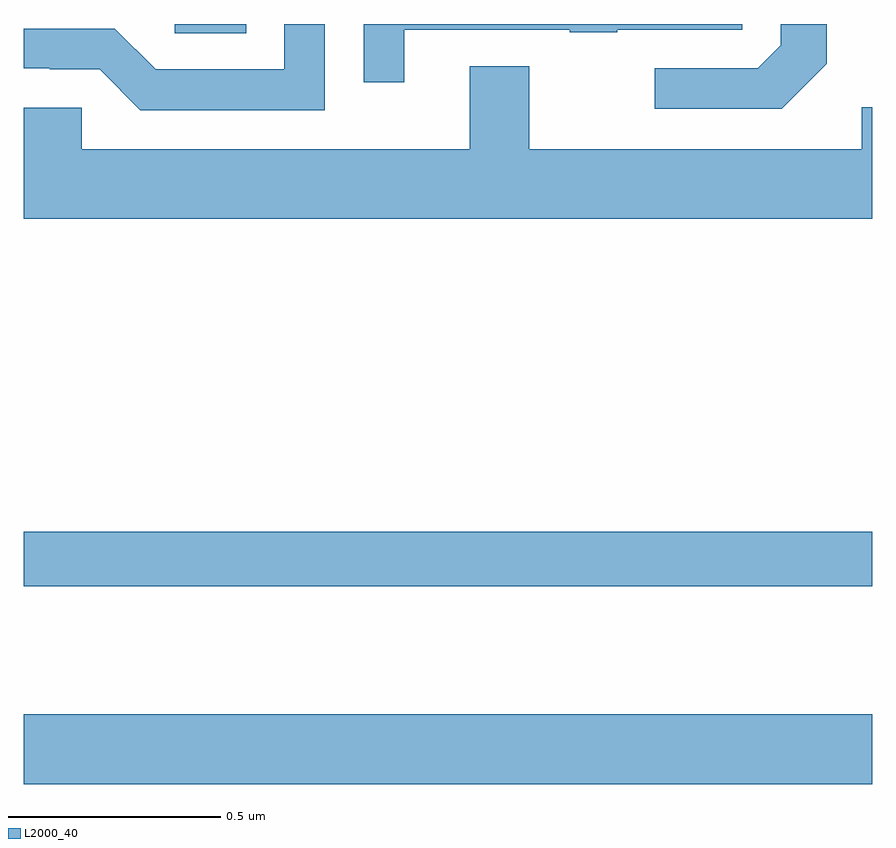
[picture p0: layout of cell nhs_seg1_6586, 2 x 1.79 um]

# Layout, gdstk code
import gdstk
lib = gdstk.Library(unit=1e-6, precision=1e-09)
def R(c, l, rs):  # rectangles x0, y0, x1, y1
    for r in rs: c.add(gdstk.rectangle(r[:2], r[2:], *l))
def P(c, l, *ps):  # polygons
    for p in ps: c.add(gdstk.Polygon(p, *l))
L2000_40 = (2000, 40)

nhs_seg1_6586 = lib.new_cell('nhs_seg1_6586')
R(nhs_seg1_6586, L2000_40, [(193,542.408,195,542.572), (193,542.874,195,543.002), (193.356,544.177,193.524,544.199)])
P(nhs_seg1_6586, L2000_40, [(193.71,544.199),(193.614,544.199),(193.614,544.092),(193.311,544.092),(193.215,544.188),(193,544.188),(193,544.095),(193.061,544.095),(193.061,544.092),(193.179,544.092),(193.275,543.996),(193.71,543.996)],
  [(193.897,544.185),(194.287,544.185),(194.287,544.18),(194.399,544.18),(194.399,544.185),(194.694,544.185),(194.694,544.199),(193.801,544.199),(193.801,544.062),(193.897,544.062)],
  [(194.893,544.105),(194.893,544.199),(194.784,544.199),(194.784,544.149),(194.73,544.095),(194.487,544.095),(194.487,543.999),(194.787,543.999)],
  [(195,544.003),(194.975,544.003),(194.975,543.904),(194.191,543.904),(194.191,544.099),(194.051,544.099),(194.051,543.904),(193.137,543.904),(193.137,544.002),(193,544.002),(193,543.74),(195,543.74)])

lib.write_gds('nhs_seg1_6586.gds')
